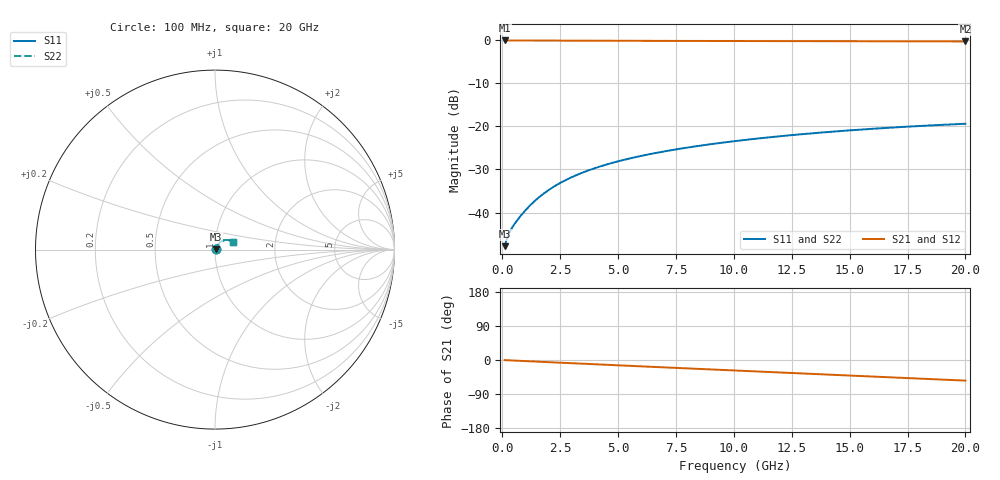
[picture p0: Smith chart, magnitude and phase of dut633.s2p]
! Touchstone file exported from HFSS 2026.1.0
!  File:  C:/ffzhzh/LocalFiles/Ansys_Project_Files/temp_train_TMRDL_633_1783009228_55676.aedt
!  Generated:  12:22:00 AM Jul  3, 2026
!  Design:  TMRDL
!  Project:  temp_train_TMRDL_633_1783009228_55676
! Variables:
!  h_bsmrdl = 2um
!  h_ox = 20um
!  h_rdl = 5um
!  h_sub = 80um
!  h_tmrdl = 5.05um
!  h_tsv = 80um
!  h_via = 3um
!  l_bsmrdl = 300um
!  l_sub = 1381um
!  l_tmrdl = 981um
!  m_sub = 200um
!  pitch = 26.33um
!  r_tsv = 6um
!  s_tmrdl = 10um
!  w_bsmrdl = 18um
!  w_sub = 500um
!  w_tmrdl = 19.58um
!  x_tsv_center1 = 990.79um
!  x_tsv_center2 = 1308.79um
!  x_tsv_center3 = 2309.37um
!  x_tsv_center4 = 2627.37um
!  x_tsv_center5 = 3627.95um
!  x_tsv_center6 = 3945.95um
# GHz S MA R 50.000000
! Terminal data exported
! Port[1] = TM_RDL1_1_T1
! Port[2] = TM_RDL1_1_T2
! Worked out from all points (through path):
!   200 points, 100 MHz to 20 GHz, reference 50 ohm
!   highest |S21| = -0.03 dB at 100 MHz (marker M1); lowest = -0.3 dB at 20 GHz (marker M2)
!   group delay of S21, straight-line fit = 7.52 ps
!   lowest |S11| = -47.8 dB at 100 MHz (marker M3), VSWR 1.01, Z = 50.4 + j0.146 ohm
!   |S11| at or under -10 dB: start of sweep to end of sweep
!   |S22| runs from -47.8 to -19.4 dB; largest |S21 - S12| = 3e-15
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0.1  0.004067 20.9  0.9962 -0.3  0.9962 -0.3  0.004067 20.9
! Gamma 0 0 0 0
! Port Impedance 50 0 50 0
0.2  0.00498 30.9  0.9958 -0.6  0.9958 -0.6  0.00498 30.9
0.3  0.005796 36.1  0.9954 -0.9  0.9954 -0.9  0.005796 36.1
0.4  0.006505 40.0  0.9951 -1.2  0.9951 -1.2  0.006505 40.0
0.5  0.007169 43.3  0.9949 -1.5  0.9949 -1.5  0.00717 43.3
0.7  0.008501 48.9  0.9946 -2.0  0.9946 -2.0  0.008502 48.9
0.9  0.009897 53.2  0.9944 -2.6  0.9944 -2.6  0.009898 53.2
1.3  0.01286 58.6  0.994 -3.7  0.994 -3.7  0.01286 58.6
1.8  0.01669 61.8  0.9933 -5.2  0.9933 -5.2  0.0167 61.7
2.3  0.02053 62.8  0.9926 -6.6  0.9926 -6.6  0.02053 62.8
2.9  0.02501 62.8  0.9916 -8.2  0.9916 -8.2  0.02501 62.8
3.5  0.02932 62.1  0.9905 -9.9  0.9905 -9.9  0.02933 62.1
4.2  0.03412 60.9  0.9893 -11.8  0.9893 -11.8  0.03413 60.8
5  0.03932 59.2  0.9879 -14.0  0.9879 -14.0  0.03933 59.2
5.8  0.04426 57.5  0.9866 -16.2  0.9866 -16.2  0.04428 57.4
6.8  0.05014 55.3  0.985 -19.0  0.985 -19.0  0.05016 55.2
8.3  0.05846 52.0  0.9829 -23.0  0.9829 -23.0  0.05849 51.9
10.1  0.0678 48.0  0.9807 -27.9  0.9807 -27.9  0.06784 47.8
11.7  0.07556 44.4  0.9788 -32.2  0.9788 -32.2  0.07562 44.2
13.4  0.08327 40.4  0.977 -36.7  0.977 -36.7  0.08333 40.2
16.7  0.09652 32.7  0.9737 -45.6  0.9737 -45.6  0.09661 32.4
20  0.1074 24.7  0.9708 -54.4  0.9708 -54.4  0.1075 24.4
